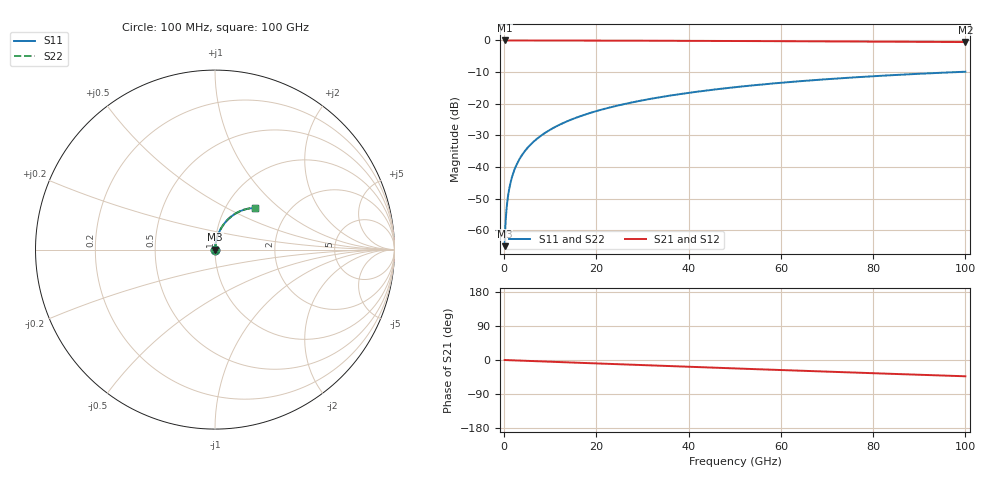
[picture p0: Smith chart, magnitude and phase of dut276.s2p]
! Touchstone file exported from HFSS 2026.1.0
!  File:  C:/ffzhzh/LocalFiles/Ansys_Project_Files/temp_train_TSV_276_1783508732_9504.aedt
!  Generated:  07:06:51 PM Jul  8, 2026
!  Design:  TSV
!  Project:  temp_train_TSV_276_1783508732_9504
! Variables:
!  h_bsmrdl = 2um
!  h_ox = 20um
!  h_rdl = 5um
!  h_sub = 75.99um
!  h_tmrdl = 5um
!  h_tsv = 75.99um
!  h_via = 3um
!  l_bsmrdl = 300um
!  l_sub = 410.16um
!  l_tmrdl = 200um
!  m_sub = 200um
!  pitch = 45.27um
!  r_tsv = 5.08um
!  s_tmrdl = 10um
!  w_bsmrdl = 18um
!  w_sub = 500um
!  w_tmrdl = 12um
!  x_tsv_center1 = 206um
!  x_tsv_center2 = 524um
!  x_tsv_center3 = 736um
!  x_tsv_center4 = 1054um
!  x_tsv_center5 = 1266um
!  x_tsv_center6 = 1584um
# GHz S MA R 50.000000
! Terminal data exported
! Port[1] = TSV1_1_T1
! Port[2] = TSV1_1_T2
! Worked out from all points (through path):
!   1000 points, 100 MHz to 100 GHz, reference 50 ohm
!   highest |S21| = 0.00 dB at 100 MHz (marker M1); lowest = -0.5 dB at 100 GHz (marker M2)
!   group delay of S21, straight-line fit = 1.2 ps
!   lowest |S11| = -65.0 dB at 100 MHz (marker M3), VSWR 1.00, Z = 50 + j0.0425 ohm
!   |S11| at or under -10 dB: start of sweep to 98.02 GHz
!   |S22| runs from -65.0 to -9.9 dB; largest |S21 - S12| = 3.5e-15
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0.1  0.0005627 49.0  0.9996 -0.0  0.9996 -0.0  0.0005627 49.0
! Gamma 0 0 0 0
! Port Impedance 50 0 50 0
0.4  0.001702 76.2  0.9996 -0.2  0.9996 -0.2  0.001702 76.2
0.7  0.002907 81.3  0.9996 -0.3  0.9996 -0.3  0.002907 81.3
0.8  0.003311 82.2  0.9996 -0.4  0.9996 -0.4  0.003311 82.2
1.1  0.004525 83.7  0.9995 -0.5  0.9995 -0.5  0.004525 83.7
1.4  0.005736 84.4  0.9995 -0.7  0.9995 -0.7  0.005736 84.4
1.9  0.007741 84.9  0.9994 -0.9  0.9994 -0.9  0.007741 84.9
2.4  0.009729 85.1  0.9993 -1.1  0.9993 -1.1  0.009729 85.1
3  0.01209 85.1  0.9992 -1.4  0.9992 -1.4  0.01209 85.1
3.8  0.01521 85.0  0.999 -1.7  0.999 -1.7  0.01521 85.0
4.8  0.01908 84.9  0.9988 -2.2  0.9988 -2.2  0.01908 84.9
5.9  0.02331 84.6  0.9986 -2.7  0.9986 -2.7  0.02331 84.6
8.8  0.0344 83.8  0.9981 -4.0  0.9981 -4.0  0.0344 83.8
12.4  0.04807 82.5  0.9972 -5.6  0.9972 -5.6  0.04807 82.5
16.8  0.06464 80.7  0.996 -7.6  0.996 -7.6  0.06464 80.7
24.2  0.09211 77.7  0.9935 -10.9  0.9935 -10.9  0.09211 77.7
33.4  0.1254 73.9  0.9895 -15.0  0.9895 -15.0  0.1254 73.9
41.2  0.1528 70.5  0.9854 -18.4  0.9854 -18.4  0.1528 70.5
50.1  0.1828 66.8  0.9801 -22.3  0.9801 -22.3  0.1828 66.8
66.7  0.2348 59.8  0.9686 -29.3  0.9686 -29.3  0.2348 59.8
83.4  0.2811 53.0  0.9559 -36.3  0.9559 -36.3  0.2811 53.0
100  0.3206 46.4  0.9432 -43.0  0.9432 -43.0  0.3206 46.4
